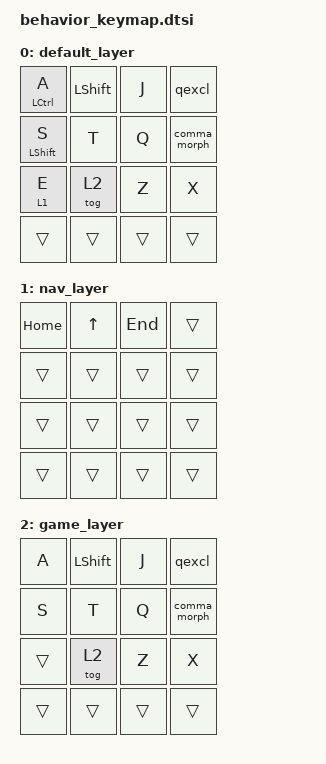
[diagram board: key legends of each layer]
/*
 * Shared keymap for totem snapshot tests.
 *
 * Mirrors production tuning from config/totem.keymap 1:1 (flavor=balanced,
 * tapping-term-ms=280, quick-tap-ms=175, require-prior-idle-ms=150,
 * hold-trigger-on-release) so drift in either the keymap source OR the
 * upstream behavior implementation gets caught by snapshot diff.
 *
 * 4x4 matrix layout — positions are row*4 + col:
 *
 *   ROW 0 (alphas, mostly left+right):
 *     0  hml LCTRL A     (left HRM — tap=A, hold=Ctrl)
 *     1  kp LSHFT        (plain shift — drives mod-morph + same-hand tests)
 *     2  kp J            (right hand — declared in hold-trigger-key-positions)
 *     3  qexcl           (mod-morph: tap=?, shift+tap=!)
 *
 *   ROW 1 (more behaviors):
 *     4  hml LSHFT S     (left HRM same hand as pos 0 — same-hand test)
 *     5  kp T            (plain — used for prior-idle test)
 *     6  kp Q            (plain BASE key)
 *     7  comma_morph     (mod-morph: tap=, shift+tap=;)
 *
 *   ROW 2 (layer keys + plain):
 *     8  lt NAV E        (layer-tap: hold→NAV, tap→E)
 *     9  tog 1           (toggle GAME layer)
 *    10  kp Z            (plain)
 *    11  kp X            (plain)
 *
 *   ROW 3 (thumb-ish):
 *    12-15  trans (placeholders)
 *
 *  NAV layer (1 — entered by holding pos 8):
 *    0=HOME 1=UP 2=END   ← positions match BASE pos numbering
 *
 *  GAME layer (2 — entered via tog 1 on pos 9):
 *    0=A (plain, no HRM)  — this proves the gaming-layer disabled-HRMs work
 */

#include <dt-bindings/zmk/keys.h>
#include <behaviors.dtsi>
#include <dt-bindings/zmk/kscan_mock.h>

// native_posix_64 ships with kscan_mock rows=2/cols=2, which collapses
// any (row>=2, col>=2) event back to positions 0-3. Override to 4x4 so
// ZMK_MOCK_PRESS(row, col, ms) → position = row*4 + col across all 16 keys.
&kscan {
    rows = <4>;
    columns = <4>;
};

// Match production layer-tap tuning from config/totem.keymap:51-57
&lt {
    flavor = "balanced";
    tapping-term-ms = <250>;
    quick-tap-ms = <175>;
};

/ {
    behaviors {
        hml: homerow_mod_left {
            compatible = "zmk,behavior-hold-tap";
            #binding-cells = <2>;
            flavor = "balanced";
            tapping-term-ms = <280>;
            quick-tap-ms = <175>;
            require-prior-idle-ms = <150>;
            bindings = <&kp>, <&kp>;
            // Right-side + mod-morph positions only. Position 4 (same hand)
            // and position 5 (same hand) are deliberately omitted.
            hold-trigger-key-positions = <2 3 7 10 11>;
            hold-trigger-on-release;
        };

        qexcl: question_to_excl {
            compatible = "zmk,behavior-mod-morph";
            #binding-cells = <0>;
            bindings = <&kp QMARK>, <&kp EXCL>;
            mods = <(MOD_LSFT|MOD_RSFT)>;
        };

        comma_morph: comma_to_semicolon {
            compatible = "zmk,behavior-mod-morph";
            #binding-cells = <0>;
            bindings = <&kp COMMA>, <&kp SEMICOLON>;
            mods = <(MOD_LSFT|MOD_RSFT)>;
        };
    };

    keymap {
        compatible = "zmk,keymap";

        default_layer {
            bindings = <
                &hml LCTRL A   &kp LSHFT   &kp J     &qexcl
                &hml LSHFT S   &kp T       &kp Q     &comma_morph
                &lt 1 E        &tog 2      &kp Z     &kp X
                &trans         &trans      &trans    &trans
            >;
        };

        nav_layer {
            bindings = <
                &kp HOME       &kp UP      &kp END   &trans
                &trans         &trans      &trans    &trans
                &trans         &trans      &trans    &trans
                &trans         &trans      &trans    &trans
            >;
        };

        game_layer {
            // All alphas plain — no HRMs. This is the property we're testing:
            // in GAME mode, A on position 0 must emit plain A, never LCTRL.
            bindings = <
                &kp A          &kp LSHFT   &kp J     &qexcl
                &kp S          &kp T       &kp Q     &comma_morph
                &trans         &tog 2      &kp Z     &kp X
                &trans         &trans      &trans    &trans
            >;
        };
    };
};
